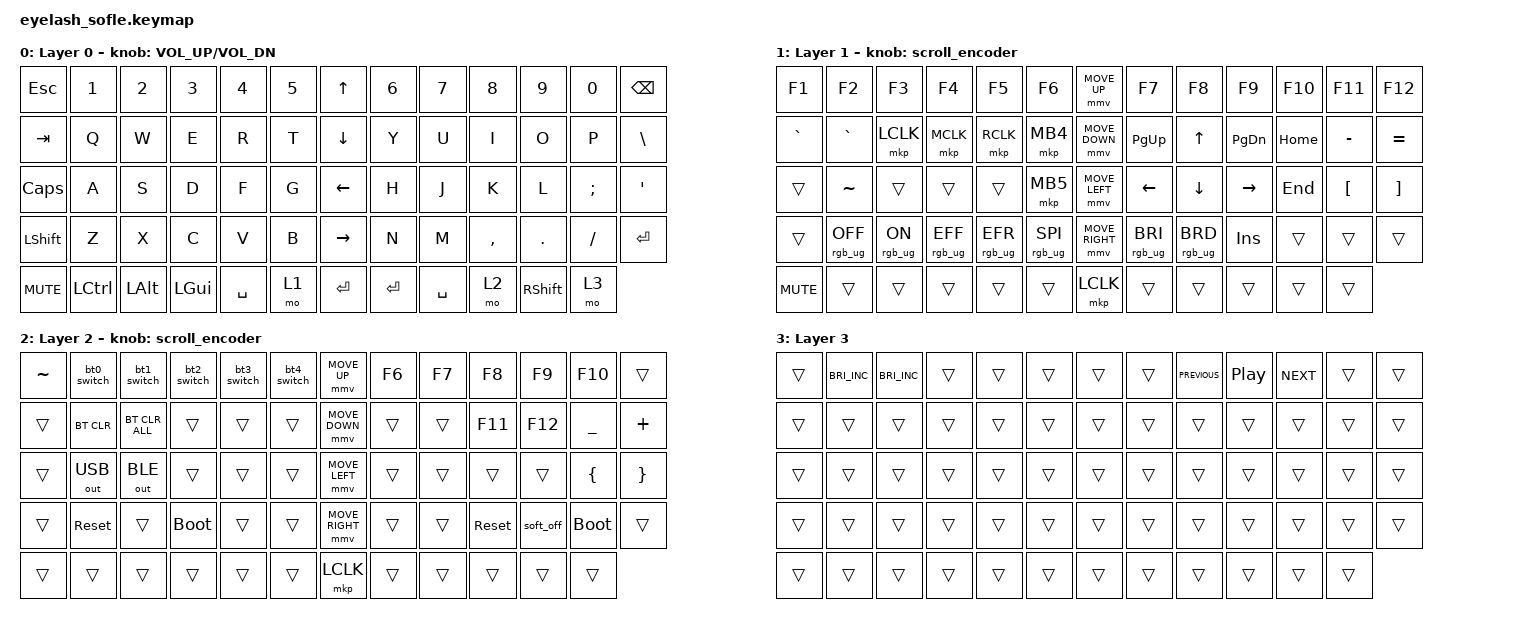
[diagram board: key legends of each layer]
#define ZMK_POINTING_DEFAULT_MOVE_VAL 1200  // 600
#define ZMK_POINTING_DEFAULT_SCRL_VAL 25   // 10

#include <input/processors.dtsi>
#include <zephyr/dt-bindings/input/input-event-codes.h>
#include <behaviors.dtsi>
#include <dt-bindings/zmk/bt.h>
#include <dt-bindings/zmk/keys.h>
#include <dt-bindings/zmk/outputs.h>
#include <dt-bindings/zmk/pointing.h>
#include <dt-bindings/zmk/rgb.h>

&mmv_input_listener { input-processors = <&zip_xy_scaler 2 1>; };

&msc_input_listener { input-processors = <&zip_scroll_scaler 2 1>; };

&msc {
    acceleration-exponent = <1>;      // 0
    time-to-max-speed-ms = <100>;       // 300
    delay-ms = <0>;                   // 0
};

&mmv {
    time-to-max-speed-ms = <500>;
    acceleration-exponent = <1>;
    trigger-period-ms = <16>;
};

/ {
    scroll_encoder: scroll_encoder {
        compatible = "zmk,behavior-sensor-rotate";
        #sensor-binding-cells = <0>;
        bindings = <&msc SCRL_DOWN>, <&msc SCRL_UP>;

        tap-ms = <100>;
    };

    behaviors {
        bt0_switch: bt0_switch {
            compatible = "zmk,behavior-macro";
            #binding-cells = <0>;
            bindings = <&out OUT_BLE>, <&bt BT_DISC 1>, <&bt BT_DISC 2>, <&bt BT_DISC 3>, <&bt BT_DISC 4>, <&bt BT_SEL 0>;
        };

        bt1_switch: bt1_switch {
            compatible = "zmk,behavior-macro";
            #binding-cells = <0>;
            bindings = <&out OUT_BLE>, <&bt BT_DISC 0>, <&bt BT_DISC 2>, <&bt BT_DISC 3>, <&bt BT_DISC 4>, <&bt BT_SEL 1>;
        };

        bt2_switch: bt2_switch {
            compatible = "zmk,behavior-macro";
            #binding-cells = <0>;
            bindings = <&out OUT_BLE>, <&bt BT_DISC 1>, <&bt BT_DISC 0>, <&bt BT_DISC 3>, <&bt BT_DISC 4>, <&bt BT_SEL 2>;
        };

        bt3_switch: bt3_switch {
            compatible = "zmk,behavior-macro";
            #binding-cells = <0>;
            bindings = <&out OUT_BLE>, <&bt BT_DISC 1>, <&bt BT_DISC 2>, <&bt BT_DISC 0>, <&bt BT_DISC 4>, <&bt BT_SEL 3>;
        };

        bt4_switch: bt4_switch {
            compatible = "zmk,behavior-macro";
            #binding-cells = <0>;
            bindings = <&out OUT_BLE>, <&bt BT_DISC 1>, <&bt BT_DISC 2>, <&bt BT_DISC 3>, <&bt BT_DISC 0>, <&bt BT_SEL 4>;
        };
    };

    macros {
    };

    keymap {
        compatible = "zmk,keymap";

        layer0 {
            bindings = <
&kp ESC     &kp N1     &kp N2        &kp N3        &kp N4     &kp N5    &kp UP_ARROW     &kp N6      &kp N7     &kp N8     &kp N9           &kp N0    &kp BACKSPACE
&kp TAB     &kp Q      &kp W         &kp E         &kp R      &kp T     &kp DOWN_ARROW   &kp Y       &kp U      &kp I      &kp O            &kp P     &kp BSLH
&kp CAPS    &kp A      &kp S         &kp D         &kp F      &kp G     &kp LEFT_ARROW   &kp H       &kp J      &kp K      &kp L            &kp SEMI  &kp APOS
&kp LSHFT   &kp Z      &kp X         &kp C         &kp V      &kp B     &kp RIGHT_ARROW  &kp N       &kp M      &kp COMMA  &kp DOT          &kp FSLH  &kp ENTER
&kp C_MUTE  &kp LCTRL  &kp LEFT_ALT  &kp LEFT_GUI  &kp SPACE  &mo 1     &kp ENTER        &kp RETURN  &kp SPACE  &mo 2      &kp RIGHT_SHIFT  &mo 3
            >;

            sensor-bindings = <&inc_dec_kp C_VOLUME_UP C_VOL_DN>;
            display-name = "Layer 0";
        };

        layer_1 {
            bindings = <
&kp F1      &kp F2           &kp F3          &kp F4           &kp F5           &kp F6             &mmv MOVE_UP     &kp F7           &kp F8           &kp F9         &kp F10   &kp F11           &kp F12
&kp GRAVE   &kp GRAVE        &mkp LCLK       &mkp MCLK        &mkp RCLK        &mkp MB4           &mmv MOVE_DOWN   &kp PG_UP        &kp UP           &kp PAGE_DOWN  &kp HOME  &kp MINUS         &kp EQUAL
&trans      &kp TILDE        &trans          &trans           &trans           &mkp MB5           &mmv MOVE_LEFT   &kp LEFT         &kp DOWN         &kp RIGHT      &kp END   &kp LEFT_BRACKET  &kp RIGHT_BRACKET
&trans      &rgb_ug RGB_OFF  &rgb_ug RGB_ON  &rgb_ug RGB_EFF  &rgb_ug RGB_EFR  &rgb_ug RGB_SPI    &mmv MOVE_RIGHT  &rgb_ug RGB_BRI  &rgb_ug RGB_BRD  &kp INSERT     &trans    &trans            &trans
&kp C_MUTE  &trans           &trans          &trans           &trans           &trans             &mkp LCLK        &trans           &trans           &trans         &trans    &trans
            >;

            display-name = "Layer 1";
            sensor-bindings = <&scroll_encoder>;
        };

        layer_2 {
            bindings = <
&kp TILDE  &bt0_switch   &bt1_switch     &bt2_switch  &bt3_switch  &bt4_switch    &mmv MOVE_UP     &kp F6  &kp F7  &kp F8      &kp F9     &kp F10      &trans
&trans     &bt BT_CLR    &bt BT_CLR_ALL  &trans       &trans       &trans         &mmv MOVE_DOWN   &trans  &trans  &kp F11     &kp F12    &kp UNDER    &kp PLUS
&trans     &out OUT_USB  &out OUT_BLE    &trans       &trans       &trans         &mmv MOVE_LEFT   &trans  &trans  &trans      &trans     &kp LBRC     &kp RBRC
&trans     &sys_reset    &trans          &bootloader  &trans       &trans         &mmv MOVE_RIGHT  &trans  &trans  &sys_reset  &soft_off  &bootloader  &trans
&trans     &trans        &trans          &trans       &trans       &trans         &mkp LCLK        &trans  &trans  &trans      &trans     &trans
            >;

            display-name = "Layer 2";
            sensor-bindings = <&scroll_encoder>;
        };

        layer_3 {
            bindings = <
&trans  &kp C_BRIGHTNESS_INC  &kp C_BRIGHTNESS_INC  &trans  &trans  &trans    &trans  &trans  &kp C_PREVIOUS  &kp C_PLAY_PAUSE  &kp C_NEXT  &trans  &trans
&trans  &trans                    &trans                &trans  &trans  &trans    &trans  &trans  &trans          &trans            &trans      &trans  &trans
&trans  &trans                    &trans                &trans  &trans  &trans    &trans  &trans  &trans          &trans            &trans      &trans  &trans
&trans  &trans                    &trans                &trans  &trans  &trans    &trans  &trans  &trans          &trans            &trans      &trans  &trans
&trans  &trans                    &trans                &trans  &trans  &trans    &trans  &trans  &trans          &trans            &trans      &trans
            >;

            display-name = "Layer 3";
        };
    };
};
